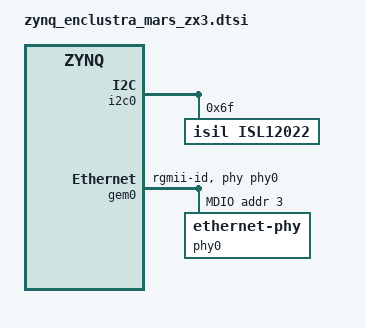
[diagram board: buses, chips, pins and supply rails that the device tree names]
// The isl12022 driver is used for the ISL12020M
&i2c0 {
	isl12022: isl12022@6f {
		status = "okay";
		compatible = "isil,isl12022";
		reg = <0x6f>;
	};
};

&gem0 {
	status = "okay";
	phy-handle = <&phy0>;
	phy-mode = "rgmii-id";
	/delete-property/ local-mac-address;

	mdio {
		phy0: ethernet-phy@3 {
			reg = <3>;

			txc-skew-ps = <1800>;
			txen-skew-ps = <420>;

			txd0-skew-ps = <420>;
			txd1-skew-ps = <420>;
			txd2-skew-ps = <420>;
			txd3-skew-ps = <420>;

			rxc-skew-ps = <1860>;
			rxdv-skew-ps = <420>;

			rxd0-skew-ps = <420>;
			rxd1-skew-ps = <420>;
			rxd2-skew-ps = <420>;
			rxd3-skew-ps = <420>;
		};
	};
};
